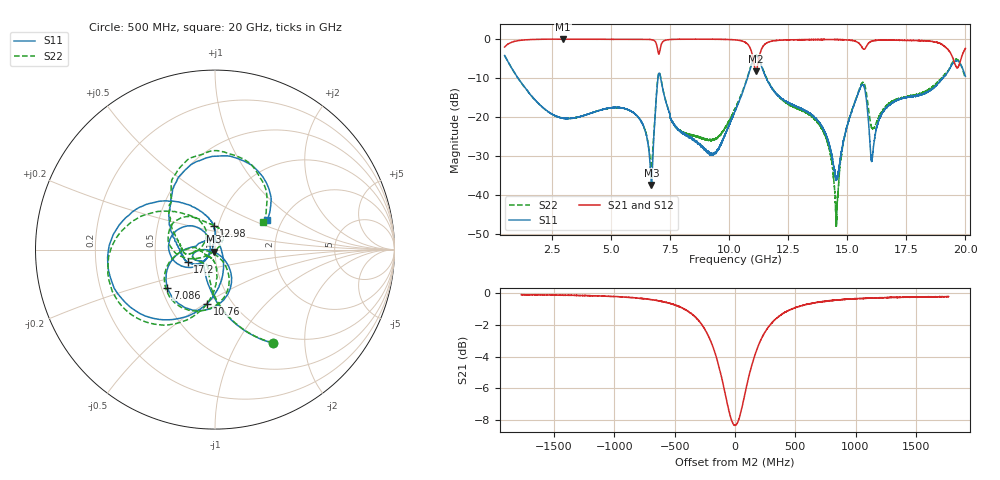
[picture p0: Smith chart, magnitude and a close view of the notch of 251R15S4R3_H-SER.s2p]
!{251R15S4R3}
!Johanson Technology Inc.
!www.johansontechnology.com
!Test Board Conditions:
!Substrate Type  RO4350B
!Substrate Thickness  20 mil
!Substrate Dk  3.66
!TL Type: GCPW
!TL Trace Width  34 mil
!TL Gap  10 mil
!Electrode orientation  Horizontal
!DUT TOPOLOGY	SERIES
!Mounting Pad LxW  26x52 mil
! Created Thu Mar 12 16:41:38 2020
# mhz S ma R 50
! 2 Port Network Data from SP1.SP block
! freq  magS11  angS11  magS21  angS21  magS12  angS12  magS22  angS22
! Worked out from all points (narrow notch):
!   19501 points, 500 MHz to 20 GHz, reference 50 ohm
!   highest |S21| = -0.05 dB at 2.972 GHz (marker M1); lowest = -8.3 dB at 11.14 GHz (marker M2)
!   notch at M2: 8.1 dB deep, 295 MHz wide at half that depth
!   lowest |S11| = -37.4 dB at 6.715 GHz (marker M3), VSWR 1.03, Z = 49.4 - j1.21 ohm
!   |S11| at or under -10 dB: 1.063 GHz to 6.99 GHz (5.928 GHz wide, 147 % of centre); 7.107 GHz to 10.78 GHz (3.672 GHz wide, 41.1 % of centre); 11.57 GHz to 19.05 GHz (7.484 GHz wide, 48.9 % of centre)
!   |S22| runs from -48.4 to -4.2 dB; largest |S21 - S12| = 0.016
!   S11 on the Smith chart (normalised r, x): 500 MHz: 0.86, -1.43; 7.086 GHz: 0.54, -0.26; 10.76 GHz: 0.77, -0.51; 12.98 GHz: 0.95, +0.25; 17.2 GHz: 0.73, -0.10; 20 GHz: 1.68, +0.61
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500  0.6125 -58.2  0.7856 31.5  0.7867 31.5  0.6111 -58.1
2972  0.09648 -133.8  0.9937 -36.5  0.993 -36.5  0.09689 -118.5
3750  0.102 -142.7  0.9897 -49.6  0.9903 -49.6  0.102 -135.5
5931  0.1141 -171.7  0.9866 -84.6  0.987 -84.5  0.1141 -175.3
6715  0.01345 -114.6  0.9771 -100.9  0.9785 -100.8  0.02327 -110.6
7000  0.3319 -94.8  0.6636 -108.1  0.6631 -108.1  0.341 -98.6
7086  0.3395 -141.5  0.7529 -89.2  0.7526 -89.1  0.3449 -143.7
7744  0.07446 140.2  0.9886 -108.6  0.9875 -108.7  0.07443 -171.4
9241  0.03321 25.5  0.9894 -135.1  0.9881 -135.2  0.05012 -118.5
10250  0.1181 -66.5  0.9701 -155.7  0.9708 -155.7  0.1276 -84.9
10761  0.3043 -98.4  0.8685 -173.6  0.8726 -173.4  0.3131 -99.1
11136  0.605 -166.1  0.3832 -160.9  0.3864 -160.9  0.6165 -158.1
11449  0.3859 135.2  0.8134 -144.6  0.8151 -144.5  0.395 148.0
12976  0.1305 93.1  0.9752 176.1  0.9756 176.0  0.1236 82.9
13500  0.1054 90.5  0.9804 166.7  0.9778 166.9  0.1003 65.4
14540  0.01548 157.4  0.9786 148.5  0.9801 148.4  0.004103 -53.6
15585  0.2466 -170.1  0.8195 125.5  0.821 125.3  0.2598 172.3
16045  0.02794 -179.7  0.9358 131.3  0.9353 131.4  0.07124 139.9
16750  0.1407 -144.8  0.9679 115.1  0.9643 114.8  0.1476 -170.3
17199  0.167 -155.6  0.9585 106.3  0.959 106.6  0.1721 -173.2
19155  0.343 137.1  0.7845 59.9  0.7852 60.7  0.3574 134.2
20000  0.332 29.2  0.7547 86.9  0.756 86.9  0.3106 30.1
